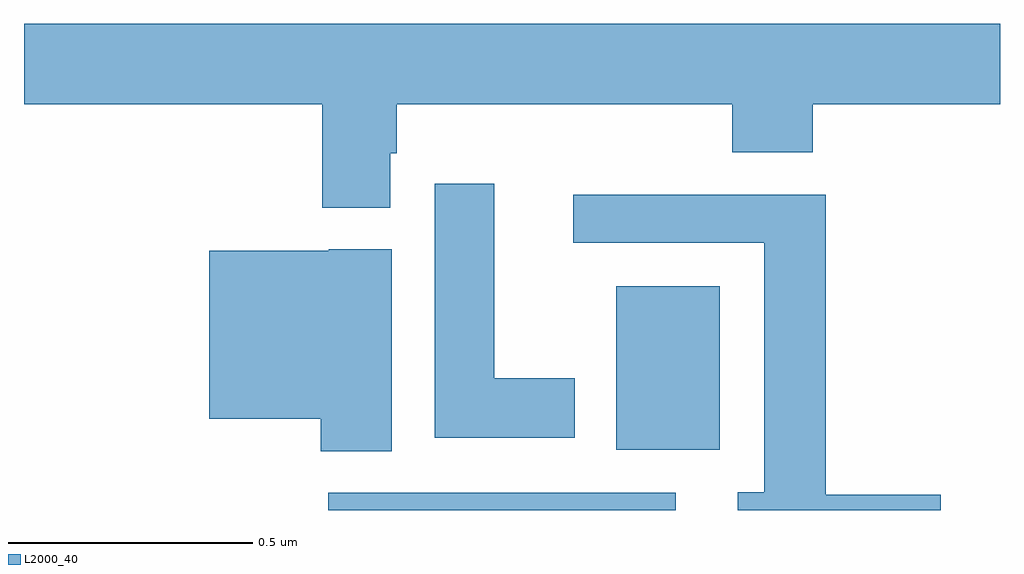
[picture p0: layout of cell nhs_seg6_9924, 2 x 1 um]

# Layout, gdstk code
import gdstk
lib = gdstk.Library(unit=1e-6, precision=1e-09)
def R(c, l, rs):  # rectangles x0, y0, x1, y1
    for r in rs: c.add(gdstk.rectangle(r[:2], r[2:], *l))
def P(c, l, *ps):  # polygons
    for p in ps: c.add(gdstk.Polygon(p, *l))
L2000_40 = (2000, 40)

nhs_seg6_9924 = lib.new_cell('nhs_seg6_9924')
R(nhs_seg6_9924, L2000_40, [(240.623,950.5,241.336,950.535), (241.214,950.624,241.426,950.959)])
P(nhs_seg6_9924, L2000_40, [(240,951.332),(240.611,951.332),(240.611,951.119),(240.751,951.119),(240.751,951.231),(240.764,951.231),(240.764,951.332),(241.451,951.332),(241.451,951.233),(241.616,951.233),(241.616,951.332),(242,951.332),(242,951.496),(240,951.496)],
  [(241.129,950.77),(240.964,950.77),(240.964,951.169),(240.842,951.169),(240.842,950.648),(241.129,950.648)],
  [(241.879,950.531),(241.643,950.531),(241.643,951.146),(241.125,951.146),(241.125,951.048),(241.517,951.048),(241.517,950.536),(241.463,950.536),(241.463,950.5),(241.879,950.5)],
  [(240.754,951.034),(240.624,951.034),(240.624,951.031),(240.38,951.031),(240.38,950.687),(240.608,950.687),(240.608,950.62),(240.754,950.62)])

lib.write_gds('nhs_seg6_9924.gds')
